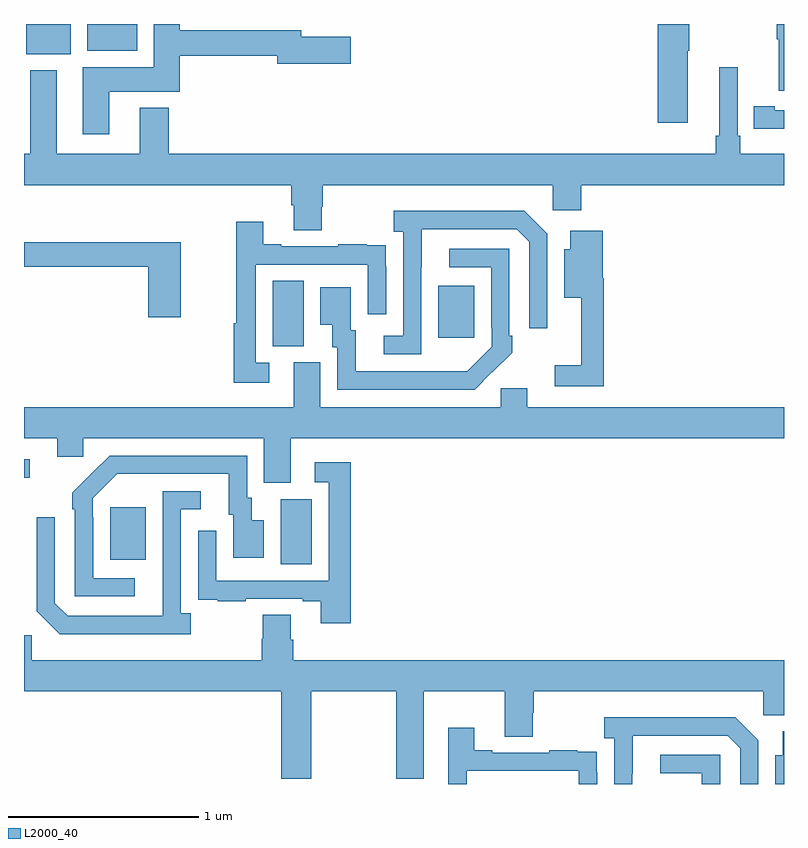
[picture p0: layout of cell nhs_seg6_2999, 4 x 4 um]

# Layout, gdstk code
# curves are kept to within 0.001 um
import gdstk
lib = gdstk.Library(unit=1e-6, precision=1e-09)
def R(c, l, rs):  # rectangles x0, y0, x1, y1
    for r in rs: c.add(gdstk.rectangle(r[:2], r[2:], *l))
def P(c, l, *ps):  # polygons
    for p in ps: c.add(gdstk.Polygon(p, *l))
L2000_40 = (2000, 40)

nhs_seg6_2999 = lib.new_cell('nhs_seg6_2999')
R(nhs_seg6_2999, L2000_40, [(288.35,962.656,288.514,963), (287.453,962.681,287.641,962.956), (287,963.113,287.029,963.21), (288.308,963.805,288.472,964.148), (289.181,963.849,289.369,964.123), (287.012,965.342,287.245,965.5), (287.333,965.36,287.596,965.5)])
P(nhs_seg6_2999, L2000_40, [(290.494,965.359),(290.502,965.359),(290.502,965.5),(290.336,965.5),(290.336,964.98),(290.494,964.98)],
  [(287.449,965.144),(287.819,965.144),(287.819,965.332),(288.332,965.332),(288.332,965.29),(288.721,965.29),(288.721,965.432),(288.46,965.432),(288.46,965.468),(287.819,965.468),(287.819,965.5),(287.684,965.5),(287.684,965.272),(287.309,965.272),(287.309,964.92),(287.449,964.92)],
  [(291,965.5),(290.961,965.5),(290.961,965.419),(290.972,965.419),(290.972,965.148),(291,965.148)],
  [(288.567,964.539),(288.572,964.539),(288.572,964.652),(289.782,964.652),(289.782,964.521),(289.934,964.521),(289.934,964.652),(291,964.652),(291,964.816),(290.771,964.816),(290.771,964.912),(290.757,964.912),(290.757,965.272),(290.66,965.272),(290.66,964.912),(290.641,964.912),(290.641,964.816),(287.762,964.816),(287.762,965.059),(287.609,965.059),(287.609,964.816),(287.173,964.816),(287.173,965.257),(287.033,965.257),(287.033,964.816),(287,964.816),(287,964.652),(288.407,964.652),(288.407,964.546),(288.419,964.546),(288.419,964.414),(288.567,964.414)],
  [(291,965.046),(290.95,965.046),(290.95,965.066),(290.842,965.066),(290.842,964.95),(290.95,964.95),(290.95,964.949),(291,964.949)],
  [(289.092,964.219),(289.093,964.419),(289.593,964.419),(289.659,964.353),(289.659,963.9),(289.755,963.9),(289.755,964.395),(289.634,964.516),(288.945,964.516),(288.945,964.406),(288.996,964.406),(288.996,963.858),(288.894,963.858),(288.894,963.762),(289.092,963.762)],
  [(288.292,963.717),(288.219,963.717),(288.219,964.233),(288.81,964.233),(288.81,963.972),(288.906,963.972),(288.906,964.226),(288.905,964.226),(288.905,964.335),(288.803,964.335),(288.803,964.342),(288.655,964.342),(288.655,964.329),(288.355,964.329),(288.355,964.342),(288.259,964.342),(288.259,964.459),(288.118,964.459),(288.118,963.924),(288.103,963.924),(288.103,963.612),(288.292,963.612)],
  [(290.051,964.162),(290.045,964.162),(290.045,964.411),(289.874,964.411),(289.874,964.315),(289.844,964.315),(289.844,964.058),(289.934,964.058),(289.934,963.703),(289.794,963.703),(289.794,963.594),(290.051,963.594)],
  [(287.824,964.351),(287,964.351),(287,964.222),(287.654,964.222),(287.654,963.957),(287.824,963.957)],
  [(289.463,963.667),(289.464,963.666),(289.569,963.771),(289.569,963.859),(289.554,963.859),(289.554,964.317),(289.239,964.317),(289.239,964.221),(289.458,964.221),(289.458,963.901),(289.461,963.901),(289.461,963.801),(289.333,963.673),(288.745,963.672),(288.745,963.888),(288.721,963.888),(288.721,964.114),(288.56,964.114),(288.56,963.917),(288.623,963.917),(288.623,963.798),(288.648,963.798),(288.648,963.576),(289.372,963.576)],
  [(288.403,963.32),(291,963.32),(291,963.484),(289.648,963.484),(289.648,963.582),(289.509,963.582),(289.509,963.484),(288.559,963.484),(288.559,963.72),(288.419,963.72),(288.419,963.484),(287,963.484),(287,963.32),(287.174,963.32),(287.174,963.222),(287.313,963.222),(287.313,963.32),(288.263,963.32),(288.263,963.085),(288.403,963.085)],
  [(287.584,962.583),(287.364,962.583),(287.364,962.903),(287.361,962.903),(287.361,963.003),(287.49,963.132),(288.077,963.132),(288.077,962.916),(288.101,962.916),(288.101,962.691),(288.262,962.691),(288.262,962.887),(288.199,962.887),(288.199,963.006),(288.174,963.006),(288.174,963.228),(287.45,963.228),(287.253,963.033),(287.253,962.945),(287.268,962.945),(287.268,962.487),(287.584,962.487)],
  [(288.719,963.193),(288.531,963.193),(288.531,963.087),(288.603,963.087),(288.603,962.571),(288.012,962.571),(288.012,962.833),(287.916,962.833),(287.916,962.578),(287.917,962.578),(287.917,962.469),(288.019,962.469),(288.019,962.463),(288.167,962.463),(288.167,962.475),(288.467,962.475),(288.467,962.463),(288.563,962.463),(288.563,962.346),(288.719,962.346)],
  [(287.878,962.398),(287.826,962.398),(287.826,962.946),(287.929,962.946),(287.929,963.042),(287.73,963.042),(287.729,962.385),(287.229,962.385),(287.163,962.451),(287.163,962.905),(287.067,962.905),(287.067,962.409),(287.188,962.288),(287.878,962.288)],
  [(288.416,962.258),(288.403,962.258),(288.403,962.39),(288.256,962.39),(288.256,962.265),(288.251,962.265),(288.251,962.152),(287.04,962.152),(287.04,962.284),(287,962.284),(287,961.988),(288.353,961.988),(288.353,961.527),(288.513,961.527),(288.513,961.988),(288.958,961.988),(288.958,961.527),(289.105,961.527),(289.105,961.988),(289.529,961.988),(289.529,961.75),(289.677,961.75),(289.677,961.875),(289.682,961.875),(289.682,961.988),(290.892,961.988),(290.892,961.862),(291,961.862),(291,962.152),(288.416,962.152)],
  [(290.202,961.555),(290.203,961.755),(290.703,961.755),(290.769,961.689),(290.769,961.5),(290.865,961.5),(290.865,961.731),(290.744,961.852),(290.055,961.852),(290.055,961.742),(290.106,961.742),(290.106,961.5),(290.202,961.5)],
  [(289.329,961.569),(289.92,961.569),(289.92,961.5),(290.016,961.5),(290.016,961.562),(290.015,961.562),(290.015,961.671),(289.913,961.671),(289.913,961.678),(289.765,961.678),(289.765,961.665),(289.465,961.665),(289.465,961.678),(289.369,961.678),(289.369,961.795),(289.233,961.795),(289.233,961.5),(289.329,961.5)],
  [(291,961.777),(290.993,961.777),(290.993,961.651),(290.954,961.651),(290.954,961.5),(291,961.5)],
  [(290.664,961.653),(290.349,961.653),(290.349,961.557),(290.568,961.557),(290.568,961.5),(290.664,961.5)])

lib.write_gds('nhs_seg6_2999.gds')
